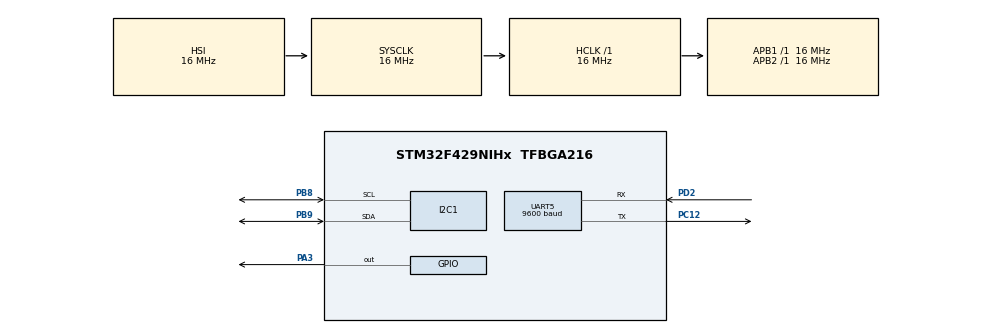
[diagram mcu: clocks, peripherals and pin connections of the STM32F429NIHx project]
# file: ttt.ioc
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Mcu.Family=STM32F4
Mcu.Name=STM32F429NIHx
Mcu.Package=TFBGA216
NVIC.PriorityGroup=NVIC_PRIORITYGROUP_4
PA3.Signal=GPIO_Output
PB8.Mode=I2C
PB8.Signal=I2C1_SCL
PB9.Mode=I2C
PB9.Signal=I2C1_SDA
PC12.Mode=Asynchronous
PC12.Signal=UART5_TX
PD2.Mode=Asynchronous
PD2.Signal=UART5_RX
ProjectManager.HeapSize=0x200
ProjectManager.StackSize=0x400
ProjectManager.TargetToolchain=TrueSTUDIO
RCC.AHBFreq_Value=16000000
RCC.APB1Freq_Value=16000000
RCC.APB2Freq_Value=16000000
RCC.CortexFreq_Value=16000000
RCC.HSE_VALUE=25000000
RCC.HSI_VALUE=16000000
RCC.LSE_VALUE=32768
RCC.SYSCLKFreq_VALUE=16000000
RCC.VCOOutputFreq_Value=192000000
UART5.BaudRate=9600
UART5.VirtualMode=Asynchronous
board=custom

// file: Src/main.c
/* USER CODE BEGIN Header */
/**
  ******************************************************************************
  * @file           : main.c
  * @brief          : Main program body
  ******************************************************************************
  * @attention
  *
  * <h2><center>&copy; Copyright (c) 2020 STMicroelectronics.
  * All rights reserved.</center></h2>
  *
  * This software component is licensed by ST under BSD 3-Clause license,
  * the "License"; You may not use this file except in compliance with the
  * License. You may obtain a copy of the License at:
  *                        opensource.org/licenses/BSD-3-Clause
  *
  ******************************************************************************
  */
/* USER CODE END Header */

#include "main.h"
#include <stdio.h>
#include <string.h>

I2C_HandleTypeDef hi2c1;

UART_HandleTypeDef huart5;

void SystemClock_Config(void);
static void MX_GPIO_Init(void);
static void MX_I2C1_Init(void);
static void MX_UART5_Init(void);

/* USER CODE BEGIN 0 */
uint8_t data[8] = {0, };
float temperature = 10;
float humidity = 10;
//char *UartTx = "Hel\n";

/* USER CODE END 0 */

int main(void)
{

  /* MCU Configuration--------------------------------------------------------*/

  /* Reset of all peripherals, Initializes the Flash interface and the Systick. */
  HAL_Init();

  /* Configure the system clock */
  SystemClock_Config();

  /* Initialize all configured peripherals */
  MX_GPIO_Init();
  MX_I2C1_Init();
  MX_UART5_Init();
  /* USER CODE BEGIN 2 */
  HAL_GPIO_WritePin(GPIOA, GPIO_PIN_3, GPIO_PIN_SET);
  uint8_t registers[3] = { 0x03, 0x00, 0x04 };
  char temp_buf[4] = {0, };
  char hum_buf[4] = {0, };
  //int i = 0;
  /* USER CODE END 2 */

  /* Infinite loop */
  while (1)
  {
    /* USER CODE BEGIN 3 */
	  //HAL_UART_Transmit(&huart5,(uint8_t*)UartTx,strlen(UartTx),HAL_MAX_DELAY);
	  HAL_I2C_Master_Transmit(&hi2c1, 0xB8, 0x00, 0, HAL_MAX_DELAY);
	  HAL_Delay(1);
	  HAL_I2C_Master_Transmit(&hi2c1, 0xB8, registers, 3, HAL_MAX_DELAY);
	  HAL_Delay(2);
	  HAL_I2C_Master_Receive(&hi2c1, 0xB8, data, 8, HAL_MAX_DELAY);
	  uint16_t temp_temperature = (data[5] | data[4] << 8);
	  if (temp_temperature & 0x8000) {
	  		temp_temperature = -(int16_t) (temp_temperature & 0x7fff);
	  } else {
	  		temp_temperature = (int16_t) temp_temperature;
	  }
	  temperature = (float) temp_temperature / 10.0;
	  humidity = (float) (data[3] | data[2] << 8) / 10.0;
	  HAL_Delay(1000);

	  sprintf(temp_buf,"%d",(int)temperature);
	  sprintf(hum_buf,"%d",(int)humidity);

	  strcat(temp_buf, "t\n");
	  strcat(hum_buf, "h\n");

	  HAL_UART_Transmit(&huart5,(uint8_t*)temp_buf,strlen(temp_buf),HAL_MAX_DELAY);
	  HAL_Delay(5000);
	  HAL_UART_Transmit(&huart5,(uint8_t*)hum_buf,strlen(hum_buf),HAL_MAX_DELAY);
	  HAL_Delay(5000);

	  /*for(i=0; i<buf_size; i++)
	  {
		  buf[i] = 0;
	  }*/

  }
  /* USER CODE END 3 */
}

void SystemClock_Config(void)
{
  RCC_OscInitTypeDef RCC_OscInitStruct = {0};
  RCC_ClkInitTypeDef RCC_ClkInitStruct = {0};

  /** Configure the main internal regulator output voltage
  */
  __HAL_RCC_PWR_CLK_ENABLE();
  __HAL_PWR_VOLTAGESCALING_CONFIG(PWR_REGULATOR_VOLTAGE_SCALE3);
  /** Initializes the CPU, AHB and APB busses clocks
  */
  RCC_OscInitStruct.OscillatorType = RCC_OSCILLATORTYPE_HSI;
  RCC_OscInitStruct.HSIState = RCC_HSI_ON;
  RCC_OscInitStruct.HSICalibrationValue = RCC_HSICALIBRATION_DEFAULT;
  RCC_OscInitStruct.PLL.PLLState = RCC_PLL_NONE;
  if (HAL_RCC_OscConfig(&RCC_OscInitStruct) != HAL_OK)
  {
    Error_Handler();
  }
  /** Initializes the CPU, AHB and APB busses clocks
  */
  RCC_ClkInitStruct.ClockType = RCC_CLOCKTYPE_HCLK|RCC_CLOCKTYPE_SYSCLK
                              |RCC_CLOCKTYPE_PCLK1|RCC_CLOCKTYPE_PCLK2;
  RCC_ClkInitStruct.SYSCLKSource = RCC_SYSCLKSOURCE_HSI;
  RCC_ClkInitStruct.AHBCLKDivider = RCC_SYSCLK_DIV1;
  RCC_ClkInitStruct.APB1CLKDivider = RCC_HCLK_DIV1;
  RCC_ClkInitStruct.APB2CLKDivider = RCC_HCLK_DIV1;

  if (HAL_RCC_ClockConfig(&RCC_ClkInitStruct, FLASH_LATENCY_0) != HAL_OK)
  {
    Error_Handler();
  }
}

static void MX_I2C1_Init(void)
{

  hi2c1.Instance = I2C1;
  hi2c1.Init.ClockSpeed = 100000;
  hi2c1.Init.DutyCycle = I2C_DUTYCYCLE_2;
  hi2c1.Init.OwnAddress1 = 0;
  hi2c1.Init.AddressingMode = I2C_ADDRESSINGMODE_7BIT;
  hi2c1.Init.DualAddressMode = I2C_DUALADDRESS_DISABLE;
  hi2c1.Init.OwnAddress2 = 0;
  hi2c1.Init.GeneralCallMode = I2C_GENERALCALL_DISABLE;
  hi2c1.Init.NoStretchMode = I2C_NOSTRETCH_DISABLE;
  if (HAL_I2C_Init(&hi2c1) != HAL_OK)
  {
    Error_Handler();
  }
  /** Configure Analogue filter
  */
  if (HAL_I2CEx_ConfigAnalogFilter(&hi2c1, I2C_ANALOGFILTER_ENABLE) != HAL_OK)
  {
    Error_Handler();
  }
  /** Configure Digital filter
  */
  if (HAL_I2CEx_ConfigDigitalFilter(&hi2c1, 0) != HAL_OK)
  {
    Error_Handler();
  }

}

static void MX_UART5_Init(void)
{

  huart5.Instance = UART5;
  huart5.Init.BaudRate = 9600;
  huart5.Init.WordLength = UART_WORDLENGTH_8B;
  huart5.Init.StopBits = UART_STOPBITS_1;
  huart5.Init.Parity = UART_PARITY_NONE;
  huart5.Init.Mode = UART_MODE_TX_RX;
  huart5.Init.HwFlowCtl = UART_HWCONTROL_NONE;
  huart5.Init.OverSampling = UART_OVERSAMPLING_16;
  if (HAL_UART_Init(&huart5) != HAL_OK)
  {
    Error_Handler();
  }

}

static void MX_GPIO_Init(void)
{
  GPIO_InitTypeDef GPIO_InitStruct = {0};

  /* GPIO Ports Clock Enable */
  __HAL_RCC_GPIOB_CLK_ENABLE();
  __HAL_RCC_GPIOC_CLK_ENABLE();
  __HAL_RCC_GPIOD_CLK_ENABLE();
  __HAL_RCC_GPIOA_CLK_ENABLE();

  /*Configure GPIO pin Output Level */
  HAL_GPIO_WritePin(GPIOA, GPIO_PIN_3, GPIO_PIN_RESET);

  /*Configure GPIO pin : PA3 */
  GPIO_InitStruct.Pin = GPIO_PIN_3;
  GPIO_InitStruct.Mode = GPIO_MODE_OUTPUT_PP;
  GPIO_InitStruct.Pull = GPIO_NOPULL;
  GPIO_InitStruct.Speed = GPIO_SPEED_FREQ_LOW;
  HAL_GPIO_Init(GPIOA, &GPIO_InitStruct);

}

void Error_Handler(void)
{
}

/************************ (C) COPYRIGHT STMicroelectronics *****END OF FILE****/
